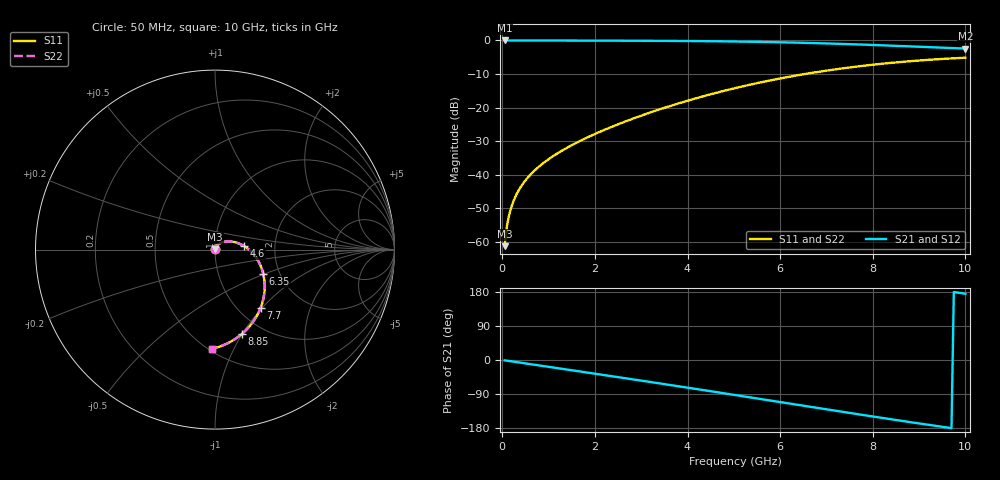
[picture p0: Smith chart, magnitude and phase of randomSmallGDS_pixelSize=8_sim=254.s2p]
! freq	dB(S11)	phase(S11)	dB(S12)	phase(S12)
!  dB(S21)	phase(S21)	dB(S22)	phase(S22)
!S-par simulation data
#  GHz  S  DB  R 50
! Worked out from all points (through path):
!   200 points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, 50 MHz to 10 GHz, reference 50 ohm
!   highest |S21| = 0.00 dB at 50 MHz (marker M1); lowest = -2.4 dB at 10 GHz (marker M2)
!   group delay of S21, straight-line fit = 52 ps
!   lowest |S11| = -61.3 dB at 50 MHz (marker M3), VSWR 1.00, Z = 50 + j0.0858 ohm
!   |S11| at or under -10 dB: start of sweep to 6.534 GHz
!   |S22| runs from -61.3 to -5.1 dB; largest |S21 - S12| = 0
!   S11 on the Smith chart (normalised r, x): 50 MHz: 1.00, +0.00; 4.6 GHz: 1.39, +0.05; 6.35 GHz: 1.65, -0.49; 7.7 GHz: 1.26, -0.98; 8.85 GHz: 0.80, -1.00; 10 GHz: 0.52, -0.82
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0.05  -61.30 85.3  -0.00 -0.9  -0.00 -0.9  -61.30 85.3
0.1  -55.34 85.3  -0.00 -1.8  -0.00 -1.8  -55.34 85.3
0.15  -51.88 84.4  -0.00 -2.7  -0.00 -2.7  -51.88 84.4
0.2  -49.45 83.5  -0.00 -3.6  -0.00 -3.6  -49.45 83.5
0.3  -46.05 81.8  -0.01 -5.5  -0.01 -5.5  -46.05 81.8
0.45  -42.61 79.5  -0.01 -8.2  -0.01 -8.2  -42.61 79.5
0.65  -39.39 76.6  -0.02 -11.8  -0.02 -11.8  -39.39 76.6
0.95  -35.88 72.0  -0.02 -17.2  -0.02 -17.2  -35.88 72.0
1.3  -32.75 66.3  -0.03 -23.5  -0.03 -23.5  -32.75 66.3
1.75  -29.47 58.7  -0.04 -31.6  -0.04 -31.6  -29.47 58.6
2.6  -24.45 43.6  -0.07 -47.0  -0.07 -47.0  -24.45 43.5
3.4  -20.52 28.9  -0.11 -61.7  -0.11 -61.7  -20.52 28.9
4  -17.96 17.8  -0.17 -72.9  -0.17 -72.9  -17.96 17.7
4.6  -15.67 6.5  -0.24 -84.3  -0.24 -84.3  -15.67 6.5
5.05  -14.13 -2.0  -0.31 -92.8  -0.31 -92.8  -14.13 -2.0
5.7  -12.14 -14.3  -0.46 -105.3  -0.46 -105.3  -12.14 -14.4
6.35  -10.44 -26.6  -0.65 -117.8  -0.65 -117.8  -10.44 -26.7
6.7  -9.63 -33.2  -0.77 -124.5  -0.77 -124.5  -9.63 -33.3
7.7  -7.70 -51.9  -1.20 -143.5  -1.20 -143.5  -7.70 -51.9
8.35  -6.74 -63.6  -1.52 -155.6  -1.52 -155.6  -6.74 -63.7
8.85  -6.13 -72.4  -1.79 -164.7  -1.79 -164.7  -6.13 -72.5
10  -5.14 -91.9  -2.42 175.0  -2.42 175.0  -5.14 -91.9
